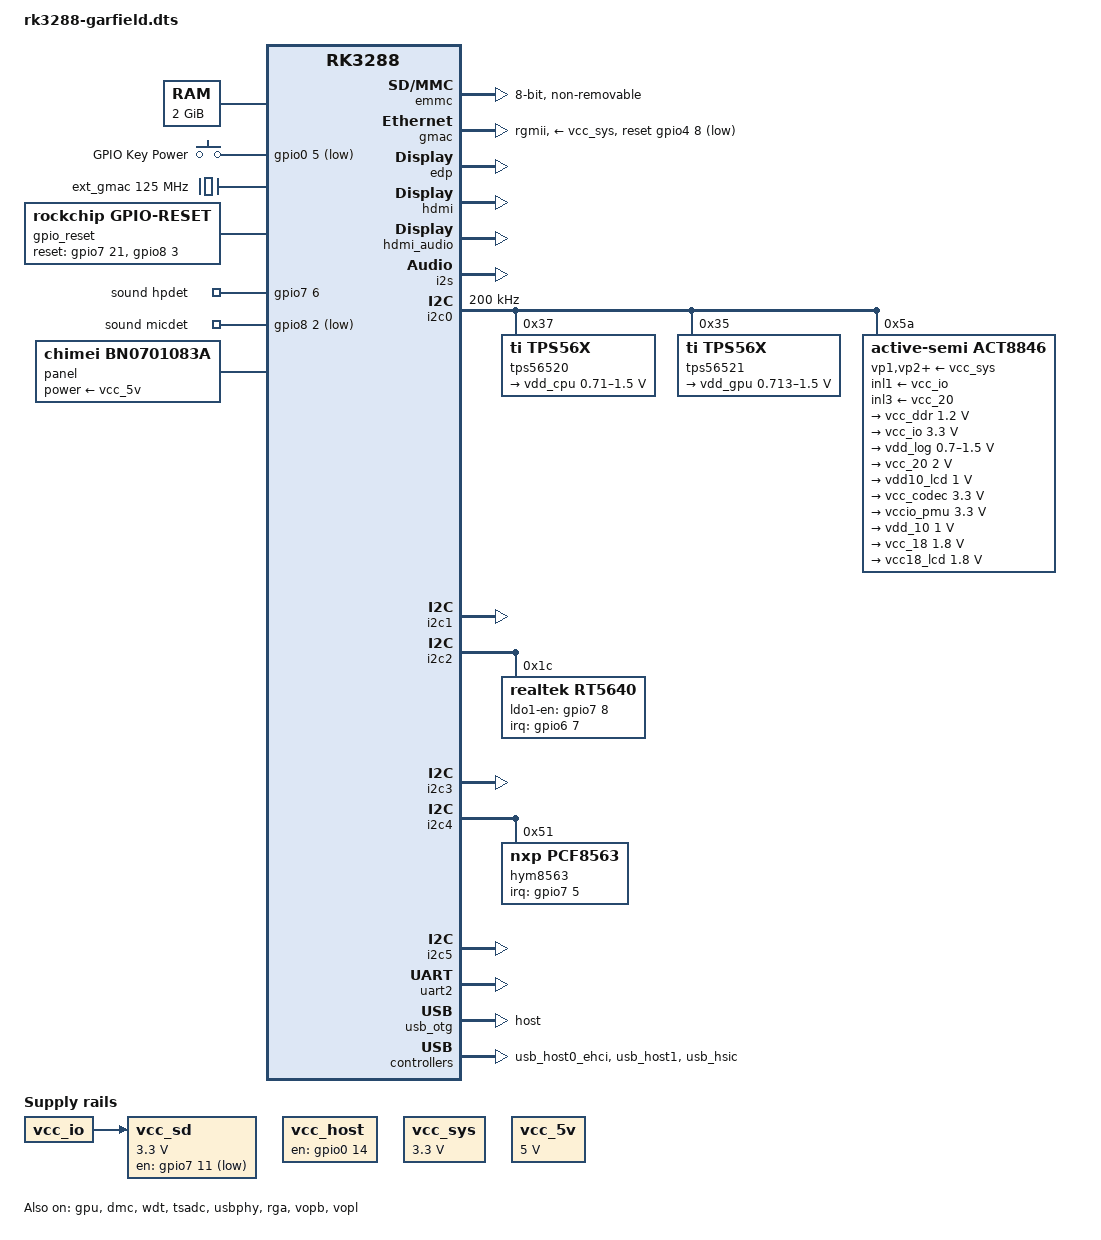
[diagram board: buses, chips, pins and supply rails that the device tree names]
/*
 * This file is dual-licensed: you can use it either under the terms
 * of the GPL or the X11 license, at your option. Note that this dual
 * licensing only applies to this file, and not this project as a
 * whole.
 *
 *  a) This file is free software; you can redistribute it and/or
 *     modify it under the terms of the GNU General Public License as
 *     published by the Free Software Foundation; either version 2 of the
 *     License, or (at your option) any later version.
 *
 *     This file is distributed in the hope that it will be useful,
 *     but WITHOUT ANY WARRANTY; without even the implied warranty of
 *     MERCHANTABILITY or FITNESS FOR A PARTICULAR PURPOSE.  See the
 *     GNU General Public License for more details.
 *
 * Or, alternatively,
 *
 *  b) Permission is hereby granted, free of charge, to any person
 *     obtaining a copy of this software and associated documentation
 *     files (the "Software"), to deal in the Software without
 *     restriction, including without limitation the rights to use,
 *     copy, modify, merge, publish, distribute, sublicense, and/or
 *     sell copies of the Software, and to permit persons to whom the
 *     Software is furnished to do so, subject to the following
 *     conditions:
 *
 *     The above copyright notice and this permission notice shall be
 *     included in all copies or substantial portions of the Software.
 *
 *     THE SOFTWARE IS PROVIDED "AS IS", WITHOUT WARRANTY OF ANY KIND,
 *     EXPRESS OR IMPLIED, INCLUDING BUT NOT LIMITED TO THE WARRANTIES
 *     OF MERCHANTABILITY, FITNESS FOR A PARTICULAR PURPOSE AND
 *     NONINFRINGEMENT. IN NO EVENT SHALL THE AUTHORS OR COPYRIGHT
 *     HOLDERS BE LIABLE FOR ANY CLAIM, DAMAGES OR OTHER LIABILITY,
 *     WHETHER IN AN ACTION OF CONTRACT, TORT OR OTHERWISE, ARISING
 *     FROM, OUT OF OR IN CONNECTION WITH THE SOFTWARE OR THE USE OR
 *     OTHER DEALINGS IN THE SOFTWARE.
 */

/dts-v1/;
#include "rk3288.dtsi"

/ {
	compatible = "rockchip,rk3288-garfield", "rockchip,rk3288";

	memory {
		device_type = "memory";
		reg = <0x0 0x80000000>;
	};

	/*
	 * HACK: this power-key sub-node is for power button detection in rk
	 * u-boot.
	 */
	adc {
		key {
			power-key {
				gpios = <&gpio0 5 GPIO_ACTIVE_LOW>;
			};
		};
	};

	gpio-keys {
		compatible = "gpio-keys";
		#address-cells = <1>;
		#size-cells = <0>;
		autorepeat;

		pinctrl-names = "default";
		pinctrl-0 = <&pwrbtn>;

		button@0 {
			gpios = <&gpio0 5 GPIO_ACTIVE_LOW>;
			linux,code = <116>;
			label = "GPIO Key Power";
			linux,input-type = <1>;
			gpio-key,wakeup = <1>;
			debounce-interval = <100>;
		};
	};

	/* This turns on USB vbus for both host0 (ehci) and host1 (dwc2) */
	vcc_host: vcc-host-regulator {
		compatible = "regulator-fixed";
		enable-active-high;
		gpio = <&gpio0 14 GPIO_ACTIVE_HIGH>;
		pinctrl-names = "default";
		pinctrl-0 = <&host_vbus_drv>;
		regulator-name = "vcc_host";
		regulator-always-on;
		regulator-boot-on;
	};

	vcc_sys: vsys-regulator {
		compatible = "regulator-fixed";
		regulator-name = "vcc_sys";
		regulator-min-microvolt = <3300000>;
		regulator-max-microvolt = <3300000>;
		regulator-always-on;
		regulator-boot-on;
	};

	vcc_5v: v5v-regulator {
		compatible = "regulator-fixed";
		regulator-name = "vcc_5v";
		regulator-min-microvolt = <5000000>;
		regulator-max-microvolt = <5000000>;
		regulator-always-on;
		regulator-boot-on;
	};

	/*
	 * NOTE: vcc_sd isn't hooked up on v1.0 boards where power comes from
	 * vcc_io directly.  Those boards won't be able to power cycle SD cards
	 * but it shouldn't hurt to toggle this pin there anyway.
	 */
	vcc_sd: sdmmc-regulator {
		compatible = "regulator-fixed";
		gpio = <&gpio7 11 GPIO_ACTIVE_LOW>;
		pinctrl-names = "default";
		pinctrl-0 = <&sdmmc_pwr>;
		regulator-name = "vcc_sd";
		regulator-min-microvolt = <3300000>;
		regulator-max-microvolt = <3300000>;
		startup-delay-us = <100000>;
		vin-supply = <&vcc_io>;
	};

	ext_gmac: external-gmac-clock {
		compatible = "fixed-clock";
		clock-frequency = <125000000>;
		clock-output-names = "ext_gmac";
		#clock-cells = <0>;
	};

	gpio_reset {
		status = "okay";
		compatible = "rockchip,gpio-reset";
		reset-gpios = <&gpio7 21 GPIO_ACTIVE_HIGH>, <&gpio8 3 GPIO_ACTIVE_HIGH>;
		delay-time = <150>;
		pinctrl-names = "default";
		pinctrl-0 = <&wifi_reset &usb_hub_nreset>;
	};

	wireless-wlan {
		compatible = "zero-client,bcmdhd_wlan";
		status = "okay";
	};

	sound {
		compatible = "rockchip,rockchip-audio-rt5640";
		// rockchip,model = "I2S-RT5640";
		rockchip,model = "DAISY-I2S";
		rockchip,i2s-controller = <&i2s>;
		rockchip,audio-codec = <&rt5640>;
		hpdet-gpios = <&gpio7 6 GPIO_ACTIVE_HIGH>;
		micdet-gpios = <&gpio8 2 GPIO_ACTIVE_LOW>;
		pinctrl-names = "default";
		pinctrl-0 = <&hp_det>, <&mic_det>;
	};

	panel: panel {
		compatible ="chimei,bn0701083a","simple-panel";
		status = "okay";
		power-supply = <&vcc_5v>;
	};
};

&cpu0 {
	cpu0-supply = <&vdd_cpu>;
};

&gpu {
	status = "okay";
	mali-supply = <&vdd_gpu>;
};

&dmc {
	status = "okay";
	logic-supply = <&vdd_log>;
	rockchip,odt-disable-freq = <333000000>;
	rockchip,dll-disable-freq = <333000000>;
	rockchip,sr-enable-freq = <333000000>;
	rockchip,auto-self-refresh-cnt = <0>;
	rockchip,auto-power-down-cnt = <64>;
	rockchip,ddr-speed-bin = <21>;
	rockchip,trcd = <10>;
	rockchip,trp = <10>;
	rockchip,pd-enable-freq = <533000000>;
	rockchip,dmc-disable-freq = <666000000>;
	operating-points = <
		/* KHz    uV */
		200000 1050000
		333000 1100000
		533000 1150000
		648000 1200000
	>;
};

&emmc {
	broken-cd;
	bus-width = <8>;
	cap-mmc-highspeed;
	mmc-hs200-1_8v;
	disable-wp;
	non-removable;
	num-slots = <1>;
	pinctrl-names = "default";
	pinctrl-0 = <&emmc_clk &emmc_cmd &emmc_pwr &emmc_bus8>;
	status = "okay";
};

&gmac {
	status = "okay";

	phy-supply = <&vcc_sys>;

	phy-mode = "rgmii";
	clock_in_out = "input";

	assigned-clocks = <&cru SCLK_MAC>;
	assigned-clock-parents = <&ext_gmac>;

	pinctrl-names = "default";
	pinctrl-0 = <&rgmii_pins>, <&phy_rst>, <&phy_pmeb>, <&phy_int>;

	tx_delay = <0x20>;
	rx_delay = <0x10>;

	resets = <&cru SRST_MAC>;
	reset-names = "stmmaceth";

	/* These properties are not actually used in rgmii mode,
	 * but the documentation states they're still required
	 * (including the active-low flag). */
	snps,reset-gpio = <&gpio4 8 0>;
	snps,reset-active-low;
	snps,reset-delays-us = <0 10000 1000000>;
};


&edp {
	status = "okay";
	rockchip,panel = <&panel>;
};

&hdmi {
	ddc-i2c-bus = <&i2c5>;
	status = "okay";
};

&hdmi_audio {
	status = "okay";
};

&i2s {
	status = "okay";
	clock-names = "i2s_hclk", "i2s_clk", "i2s_clk_out";
	clocks = <&cru HCLK_I2S0>, <&cru SCLK_I2S0>, <&cru SCLK_I2S0_OUT>;

	assigned-clocks = <&cru SCLK_I2S0>,  <&cru SCLK_I2S0_PRE>, <&cru SCLK_I2S0_SRC>;
	assigned-clock-parents = <&cru SCLK_I2S0_PRE>, <&cru SCLK_I2S0_FRAC>, <&cru PLL_GPLL>;
};

&i2c0 {
	status = "okay";
	clock-frequency = <200000>;

	tps56520: tps56520@37 {
		compatible = "ti,tps56x";
		reg = <0x37>;
		status = "okay";
		regulators {
			#address-cells = <1>;
			#size-cells = <0>;
			vdd_cpu: regulator@0 {
				reg = <0>;
				regulator-compatible = "tps56x_dcdc1";
				regulator-name = "vdd_cpu";
				regulator-min-microvolt = <710000>;
				regulator-max-microvolt = <1500000>;
				regulator-always-on;
				regulator-boot-on;
				regulator-initial-mode = <0x2>;
				regulator-initial-state = <3>;
				regulator-state-mem {
					regulator-state-mode = <0x2>;
					regulator-state-disabled;
					regulator-state-uv = <900000>;
				};
			};
		};
	};

	tps56521: tps56521@35 {
		compatible = "ti,tps56x";
		reg = <0x35>;
		status = "okay";
		regulators {
		#address-cells = <1>;
			#size-cells = <0>;
			vdd_gpu: regulator@0 {
				reg = <0>;
				regulator-compatible = "tps56x_dcdc1";
				regulator-name = "vdd_gpu";
	                        regulator-min-microvolt = <712500>;
		                regulator-max-microvolt = <1500000>;
			        regulator-always-on;
				regulator-boot-on;
	                        regulator-initial-mode = <0x2>;
				regulator-initial-state = <3>;
	                        regulator-state-mem {
					regulator-state-mode = <0x2>;
					regulator-state-enabled;
					regulator-state-uv = <900000>;
				};
			};
		};
        };

	act8846: act8846@5a {
		compatible = "active-semi,act8846";
		reg = <0x5a>;
		status = "okay";
		system-power-controller;

		vp1-supply = <&vcc_sys>;
		vp2-supply = <&vcc_sys>;
		vp3-supply = <&vcc_sys>;
		vp4-supply = <&vcc_sys>;
		inl1-supply = <&vcc_io>;
		inl2-supply = <&vcc_sys>;
		inl3-supply = <&vcc_20>;

		regulators {
			vcc_ddr: REG1 {
				regulator-name = "VCC_DDR";
				regulator-min-microvolt = <1200000>;
				regulator-max-microvolt = <1200000>;
				regulator-always-on;
			};

			vcc_io: REG2 {
				regulator-name = "VCC_IO";
				regulator-min-microvolt = <3300000>;
				regulator-max-microvolt = <3300000>;
				regulator-always-on;
			};

			vdd_log: REG3 {
				regulator-name = "VDD_LOG";
				regulator-min-microvolt = <700000>;
				regulator-max-microvolt = <1500000>;
				regulator-always-on;
			};

			vcc_20: REG4 {
				regulator-name = "VCC_20";
				regulator-min-microvolt = <2000000>;
				regulator-max-microvolt = <2000000>;
				regulator-always-on;
			};

			vdd10_lcd: REG6 {
				regulator-name = "VDD10_LCD";
				regulator-min-microvolt = <1000000>;
				regulator-max-microvolt = <1000000>;
				regulator-always-on;
				regulator-suspend-mem-disabled;
			};

			vcc_codec: REG8 {
				regulator-name = "VCC_CODEC";
				regulator-min-microvolt = <3300000>;
				regulator-max-microvolt = <3300000>;
				regulator-always-on;
				regulator-suspend-mem-disabled;
			};

			vccio_pmu: REG9 {
				regulator-name = "VCCIO_PMU";
				regulator-min-microvolt = <3300000>;
				regulator-max-microvolt = <3300000>;
				regulator-always-on;
			};

			vdd_10: REG10 {
				regulator-name = "VDD_10";
				regulator-min-microvolt = <1000000>;
				regulator-max-microvolt = <1000000>;
				regulator-always-on;
			};

			vcc_18: REG11 {
				regulator-name = "VCC_18";
				regulator-min-microvolt = <1800000>;
				regulator-max-microvolt = <1800000>;
				regulator-always-on;
				regulator-suspend-mem-disabled;
			};

			vcc18_lcd: REG12 {
				regulator-name = "VCC18_LCD";
				regulator-min-microvolt = <1800000>;
				regulator-max-microvolt = <1800000>;
				regulator-always-on;
				regulator-suspend-mem-disabled;
			};
		};
	};
};

&i2c1 {
	status = "okay";
};

&i2c2 {
	status = "okay";

	rt5640: rt5640@1c {
		compatible = "realtek,rt5640";
		reg = <0x1c>;
		interrupt-parent = <&gpio6>;
		interrupts = <7 IRQ_TYPE_EDGE_FALLING>;
		realtek,ldo1-en-gpios = <&gpio7 8 GPIO_ACTIVE_HIGH>;

		pinctrl-names = "default";
		pinctrl-0 = <&ldo1_en>;

	};
};

&i2c3 {
	status = "okay";
};

&i2c4 {
	status = "okay";

	hym8563@51 {
		compatible = "nxp,pcf8563";
		reg = <0x51>;

		interrupt-parent = <&gpio7>;
		interrupts = <5 IRQ_TYPE_EDGE_FALLING>;

		pinctrl-names = "default";
		pinctrl-0 = <&rtc_int>;

		#clock-cells = <0>;
		clock-output-names = "xin32k";
	};
};

&i2c5 {
	status = "okay";
};

&wdt {
	status = "okay";
};

&uart2 {
	status = "okay";
};

&tsadc {
	rockchip,hw-tshut-mode = <1>; /* tshut mode 0:CRU 1:GPIO */
	rockchip,hw-tshut-polarity = <1>; /* tshut polarity 0:LOW 1:HIGH */
	status = "okay";
};

&pinctrl {
/*	pinctrl-names = "default", "sleep";
	pinctrl-0 = <
		&global_pwroff
	>;
	pinctrl-1 = <
		&global_pwroff
	>;
*/
	pcfg_pull_none_drv_8ma: pcfg-pull-none-drv-8ma {
		drive-strength = <8>;
	};

	pcfg_pull_up_drv_8ma: pcfg-pull-up-drv-8ma {
		bias-pull-up;
		drive-strength = <8>;
	};

	pcfg_output_high: pcfg-output-high {
		output-high;
	};

	pcfg_output_low: pcfg-output-low {
		output-low;
	};

	buttons {
		pwrbtn: pwrbtn {
			rockchip,pins = <0 5 RK_FUNC_GPIO &pcfg_pull_up>;
		};
	};

	emmc {
		/*
		 * We run eMMC at max speed; bump up drive strength.
		 * We also have external pulls, so disable the internal ones.
		 */
		emmc_clk: emmc-clk {
			rockchip,pins = <3 18 RK_FUNC_2 &pcfg_pull_none_drv_8ma>;
		};

		emmc_cmd: emmc-cmd {
			rockchip,pins = <3 16 RK_FUNC_2 &pcfg_pull_none_drv_8ma>;
		};

		emmc_bus8: emmc-bus8 {
			rockchip,pins = <3 0 RK_FUNC_2 &pcfg_pull_none_drv_8ma>,
					<3 1 RK_FUNC_2 &pcfg_pull_none_drv_8ma>,
					<3 2 RK_FUNC_2 &pcfg_pull_none_drv_8ma>,
					<3 3 RK_FUNC_2 &pcfg_pull_none_drv_8ma>,
					<3 4 RK_FUNC_2 &pcfg_pull_none_drv_8ma>,
					<3 5 RK_FUNC_2 &pcfg_pull_none_drv_8ma>,
					<3 6 RK_FUNC_2 &pcfg_pull_none_drv_8ma>,
					<3 7 RK_FUNC_2 &pcfg_pull_none_drv_8ma>;
		};
	};

	gmac {
		phy_rst: phy-rst {
			rockchip,pins = <4 8 RK_FUNC_GPIO &pcfg_output_high>;
		};

		phy_pmeb: phy-pmeb {
			rockchip,pins = <0 8 RK_FUNC_GPIO &pcfg_pull_up>;
		};

		phy_int: phy-int {
			rockchip,pins = <0 9 RK_FUNC_GPIO &pcfg_pull_up>;
		};
	};

	reset_gpio: reset-gpio {
		wifi_reset: wifi-reset {
			rockchip,pins = <7 21 RK_FUNC_GPIO &pcfg_pull_none>;
		};
		usb_hub_nreset: usb-hub-nreset {
			rockchip,pins = <8 3 RK_FUNC_GPIO &pcfg_pull_none>;
		};
	};

	rtc {
		rtc_int: rtc-int {
			rockchip,pins = <7 5 RK_FUNC_GPIO &pcfg_pull_none>;
		};
	};

	sdmmc {
		/*
		 * Default drive strength isn't enough to achieve even
		 * high-speed mode on EVB board so bump up to 8ma.
		 */
		sdmmc_bus4: sdmmc-bus4 {
			rockchip,pins = <6 16 RK_FUNC_1 &pcfg_pull_up_drv_8ma>,
					<6 17 RK_FUNC_1 &pcfg_pull_up_drv_8ma>,
					<6 18 RK_FUNC_1 &pcfg_pull_up_drv_8ma>,
					<6 19 RK_FUNC_1 &pcfg_pull_up_drv_8ma>;
		};

		sdmmc_clk: sdmmc-clk {
			rockchip,pins = <6 20 RK_FUNC_1 &pcfg_pull_none_drv_8ma>;
		};

		sdmmc_cmd: sdmmc-cmd {
			rockchip,pins = <6 21 RK_FUNC_1 &pcfg_pull_up_drv_8ma>;
		};

		sdmmc_pwr: sdmmc-pwr {
			rockchip,pins = <7 11 RK_FUNC_GPIO &pcfg_pull_none>;
		};
	};

	usb {
		host_vbus_drv: host-vbus-drv {
			rockchip,pins = <0 14 RK_FUNC_GPIO &pcfg_pull_none>;
		};
	};

	codec {
		hp_det: hp-det {
			rockchip,pins = <7 6 RK_FUNC_GPIO &pcfg_pull_up>;
		};

		mic_det: mic-det {
			rockchip,pins = <8 2 RK_FUNC_GPIO &pcfg_pull_up>;
		};

		ldo1_en: ldo1-en {
			rockchip,pins = <7 8 RK_FUNC_GPIO &pcfg_pull_none>;
		};
	};
};

&usbphy {
	status = "okay";
};

&usb_otg {
	dr_mode = "host";
	status = "okay";
};

&usb_host0_ehci {
	status = "okay";
};

&usb_host1 {
	status = "okay";
};

&usb_hsic {
	status = "okay";
};

&rga {
	status = "okay";
};

&vopb {
	status = "okay";
};

&vopb_mmu {
	status = "okay";
};

&vopl {
	status = "okay";
};

&vopl_mmu {
	status = "okay";
};
